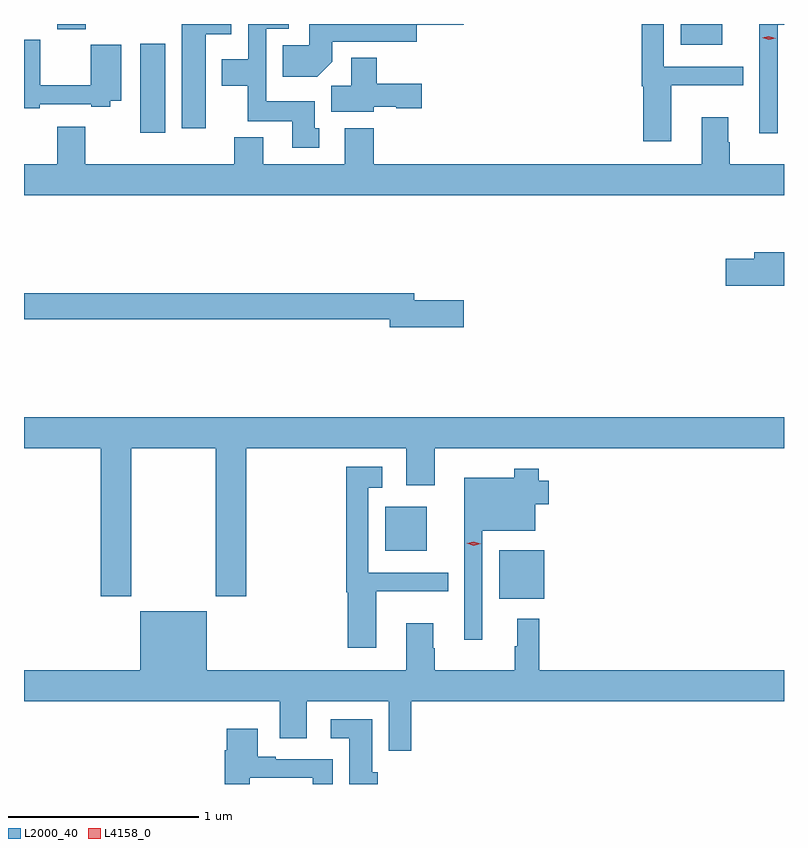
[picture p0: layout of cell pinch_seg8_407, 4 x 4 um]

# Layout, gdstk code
import gdstk
lib = gdstk.Library(unit=1e-6, precision=1e-09)
def R(c, l, rs):  # rectangles x0, y0, x1, y1
    for r in rs: c.add(gdstk.rectangle(r[:2], r[2:], *l))
def P(c, l, *ps):  # polygons
    for p in ps: c.add(gdstk.Polygon(p, *l))
L2000_40 = (2000, 40)
L4158_0 = (4158, 0)

pinch_seg8_407 = lib.new_cell('pinch_seg8_407')
R(pinch_seg8_407, L2000_40, [(587.498,1102.388,587.734,1102.642), (586.898,1102.64,587.116,1102.873), (585.608,1104.84,585.739,1105.309), (588.452,1105.304,588.67,1105.413), (585.172,1105.385,585.322,1105.413)])
P(pinch_seg8_407, L2000_40, [(586.618,1105.214),(586.618,1105.32),(587.063,1105.32),(587.063,1105.409),(587.311,1105.409),(587.311,1105.413),(586.496,1105.413),(586.496,1105.3),(586.357,1105.3),(586.357,1105.136),(586.54,1105.136)],
  [(588.403,1105.091),(588.782,1105.091),(588.782,1105.188),(588.363,1105.188),(588.363,1105.413),(588.247,1105.413),(588.247,1105.085),(588.254,1105.085),(588.254,1104.795),(588.403,1104.795)],
  [(585.952,1105.358),(586.086,1105.358),(586.086,1105.413),(585.827,1105.413),(585.827,1104.864),(585.952,1104.864)],
  [(586.549,1104.864),(586.525,1104.864),(586.525,1105.006),(586.272,1105.006),(586.272,1105.389),(586.39,1105.389),(586.39,1105.413),(586.176,1105.413),(586.176,1105.228),(586.037,1105.228),(586.037,1105.088),(586.174,1105.088),(586.174,1104.902),(586.409,1104.902),(586.409,1104.762),(586.549,1104.762)],
  [(588.963,1105.409),(588.996,1105.409),(588.996,1105.413),(588.866,1105.413),(588.866,1105.313),(588.867,1105.313),(588.867,1104.837),(588.963,1104.837)],
  [(585.078,1104.99),(585.35,1104.99),(585.35,1104.978),(585.45,1104.978),(585.45,1105.01),(585.508,1105.01),(585.508,1105.303),(585.346,1105.303),(585.346,1105.091),(585.082,1105.091),(585.082,1105.33),(584.996,1105.33),(584.996,1104.97),(585.078,1104.97)],
  [(586.836,1104.977),(586.956,1104.977),(586.956,1104.97),(587.089,1104.97),(587.089,1105.099),(586.853,1105.099),(586.853,1105.235),(586.718,1105.235),(586.718,1105.088),(586.613,1105.088),(586.613,1104.95),(586.836,1104.95)],
  [(588.996,1104.676),(588.711,1104.676),(588.711,1104.791),(588.703,1104.791),(588.703,1104.922),(588.563,1104.922),(588.563,1104.676),(586.838,1104.676),(586.838,1104.865),(586.685,1104.865),(586.685,1104.676),(586.255,1104.676),(586.255,1104.817),(586.103,1104.817),(586.103,1104.676),(585.319,1104.676),(585.319,1104.871),(585.172,1104.871),(585.172,1104.676),(584.996,1104.676),(584.996,1104.512),(588.996,1104.512)],
  [(588.996,1104.211),(588.839,1104.211),(588.839,1104.177),(588.69,1104.177),(588.69,1104.035),(588.996,1104.035)],
  [(587.311,1103.96),(587.05,1103.96),(587.05,1103.996),(584.996,1103.996),(584.996,1103.86),(586.922,1103.86),(586.922,1103.818),(587.311,1103.818)],
  [(585.561,1103.18),(586.006,1103.18),(586.006,1102.401),(586.166,1102.401),(586.166,1103.18),(587.009,1103.18),(587.009,1102.986),(587.158,1102.986),(587.158,1103.18),(588.996,1103.18),(588.996,1103.344),(584.996,1103.344),(584.996,1103.18),(585.401,1103.18),(585.401,1102.401),(585.561,1102.401)],
  [(586.849,1102.427),(587.228,1102.427),(587.228,1102.524),(586.809,1102.524),(586.809,1102.973),(586.882,1102.973),(586.882,1103.083),(586.693,1103.083),(586.693,1102.421),(586.7,1102.421),(586.7,1102.131),(586.849,1102.131)],
  [(587.409,1102.745),(587.686,1102.745),(587.686,1102.886),(587.759,1102.886),(587.759,1103.008),(587.705,1103.008),(587.705,1103.071),(587.577,1103.071),(587.577,1103.026),(587.312,1103.026),(587.312,1102.649),(587.313,1102.649),(587.313,1102.173),(587.409,1102.173)],
  [(587.033,1101.848),(588.996,1101.848),(588.996,1102.012),(587.708,1102.012),(587.708,1102.282),(587.591,1102.282),(587.591,1102.139),(587.58,1102.139),(587.58,1102.012),(587.157,1102.012),(587.157,1102.127),(587.149,1102.127),(587.149,1102.258),(587.009,1102.258),(587.009,1102.012),(585.958,1102.012),(585.958,1102.321),(585.608,1102.321),(585.608,1102.012),(584.996,1102.012),(584.996,1101.848),(586.343,1101.848),(586.343,1101.654),(586.483,1101.654),(586.483,1101.848),(586.917,1101.848),(586.917,1101.588),(587.033,1101.588)],
  [(586.859,1101.474),(586.828,1101.474),(586.828,1101.754),(586.611,1101.754),(586.611,1101.653),(586.709,1101.653),(586.709,1101.413),(586.859,1101.413)],
  [(586.183,1101.447),(586.517,1101.447),(586.517,1101.413),(586.621,1101.413),(586.621,1101.543),(586.321,1101.543),(586.321,1101.556),(586.225,1101.556),(586.225,1101.703),(586.064,1101.703),(586.064,1101.59),(586.052,1101.59),(586.052,1101.413),(586.183,1101.413)])
P(pinch_seg8_407, L4158_0, [(588.916,1105.329),(588.881,1105.34),(588.881,1105.34),(588.881,1105.34),(588.917,1105.349),(588.953,1105.337),(588.953,1105.337),(588.953,1105.337)],
  [(587.363,1102.668),(587.327,1102.68),(587.327,1102.68),(587.327,1102.68),(587.364,1102.688),(587.399,1102.677),(587.399,1102.677),(587.399,1102.677)])

lib.write_gds('pinch_seg8_407.gds')
